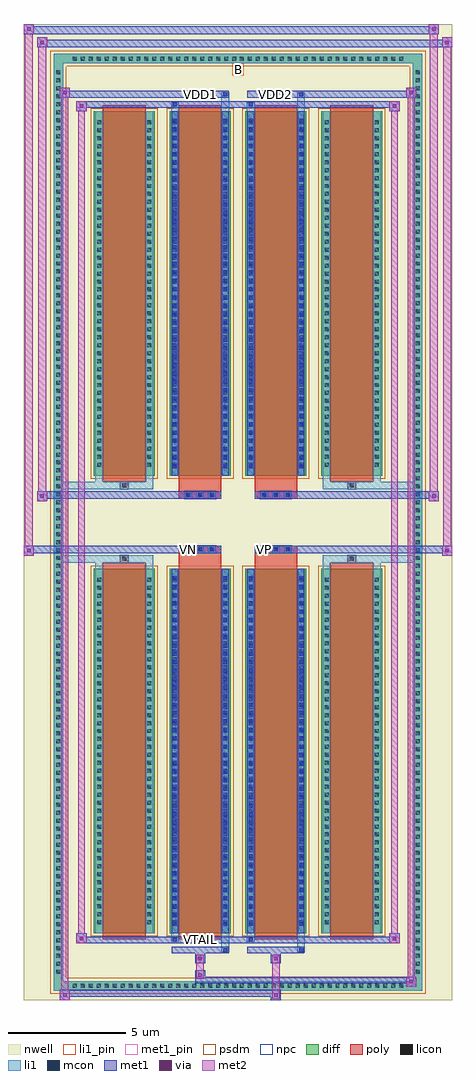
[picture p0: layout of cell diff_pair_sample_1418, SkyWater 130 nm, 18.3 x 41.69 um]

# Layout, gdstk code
import gdstk
lib = gdstk.Library(unit=1e-6, precision=5e-09)
def R(c, l, rs):  # rectangles x0, y0, x1, y1
    for r in rs: c.add(gdstk.rectangle(r[:2], r[2:], *l))
def A(c, l, x, y, w, h, nx, ny, dx, dy):  # array of equal rectangles
    R(c, l, [(x+i*dx, y+j*dy, x+i*dx+w, y+j*dy+h) for i in range(nx) for j in range(ny)])
def P(c, l, *ps):  # polygons
    for p in ps: c.add(gdstk.Polygon(p, *l))
nwell = (64, 20)
diff = (65, 20)
poly = (66, 20)
licon = (66, 44)
li1_pin = (67, 16)
li1 = (67, 20)
mcon = (67, 44)
met1_pin = (68, 16)
met1 = (68, 20)
via = (68, 44)
met2 = (69, 20)
psdm = (94, 20)
npc = (95, 20)

diff_pair_sample_1418 = lib.new_cell('diff_pair_sample_1418')
R(diff_pair_sample_1418, nwell, [(-9.15,-20.41,9.15,21.28), (-6.47,-18.6,-0.01,-0.8), (0.01,-18.6,6.47,-0.8), (-6.47,0.8,-0.01,18.6), (0.01,0.8,6.47,18.6)])
A(diff_pair_sample_1418, diff, -7.175, -20.01, 0.41, 0.41, 42, 2, 0.34, 39.61)
A(diff_pair_sample_1418, diff, -7.88, -19.415, 0.41, 0.41, 1, 114, 0, 0.34)
A(diff_pair_sample_1418, diff, 7.47, -19.415, 0.41, 0.41, 1, 114, 0, 0.34)
A(diff_pair_sample_1418, diff, -6.16, -17.555, 2.6, 15.57, 4, 2, 3.24, 19.54)
R(diff_pair_sample_1418, diff, [(-7.175,-20.01,7.175,-19.6), (-7.88,-19.415,-7.47,19.415), (7.47,-19.415,7.88,19.415), (-7.175,19.6,7.175,20.01)])
P(diff_pair_sample_1418, diff, [(7.88,20.01),(-7.88,20.01),(-7.88,-19.6),(-7.47,-19.6),(-7.47,19.6),(7.47,19.6),(7.47,-19.6),(-7.47,-19.6),(-7.88,-19.6),(-7.88,-20.01),(7.88,-20.01)])
A(diff_pair_sample_1418, poly, -5.77, -17.805, 1.82, 16.07, 4, 2, 3.24, 19.54)
A(diff_pair_sample_1418, poly, -2.285, -1.33, 0.33, 0.33, 3, 2, 0.5, 2.33)
A(diff_pair_sample_1418, poly, 0.955, -1.33, 0.33, 0.33, 3, 2, 0.5, 2.33)
R(diff_pair_sample_1418, poly, [(-5.025,-1.735,-4.695,-1.405), (-5.025,-1.735,-4.695,-1.405), (-2.53,-1.735,-0.71,-1.33), (0.71,-1.735,2.53,-1.33), (4.695,-1.735,5.025,-1.405), (4.695,-1.735,5.025,-1.405), (-2.53,-1.33,-0.71,-1), (0.71,-1.33,2.53,-1), (-2.53,1,-0.71,1.33), (0.71,1,2.53,1.33), (-2.53,1.33,-0.71,1.735), (0.71,1.33,2.53,1.735), (-5.025,1.405,-4.695,1.735), (-5.025,1.405,-4.695,1.735), (4.695,1.405,5.025,1.735), (4.695,1.405,5.025,1.735)])
A(diff_pair_sample_1418, licon, -7.055, -19.89, 0.17, 0.17, 42, 2, 0.34, 39.61)
A(diff_pair_sample_1418, licon, -7.76, -19.295, 0.17, 0.17, 1, 114, 0, 0.34)
A(diff_pair_sample_1418, licon, 7.59, -19.295, 0.17, 0.17, 1, 114, 0, 0.34)
A(diff_pair_sample_1418, licon, -6.02, -17.165, 0.17, 0.17, 1, 44, 0, 0.34)
A(diff_pair_sample_1418, licon, -3.87, -17.165, 0.17, 0.17, 1, 44, 0, 0.34)
A(diff_pair_sample_1418, licon, -2.78, -17.165, 0.17, 0.17, 1, 44, 0, 0.34)
A(diff_pair_sample_1418, licon, -0.63, -17.165, 0.17, 0.17, 1, 44, 0, 0.34)
A(diff_pair_sample_1418, licon, 0.46, -17.165, 0.17, 0.17, 1, 44, 0, 0.34)
A(diff_pair_sample_1418, licon, 2.61, -17.165, 0.17, 0.17, 1, 44, 0, 0.34)
A(diff_pair_sample_1418, licon, 3.7, -17.165, 0.17, 0.17, 1, 44, 0, 0.34)
A(diff_pair_sample_1418, licon, 5.85, -17.165, 0.17, 0.17, 1, 44, 0, 0.34)
A(diff_pair_sample_1418, licon, -2.205, -1.25, 0.17, 0.17, 3, 2, 0.5, 2.33)
A(diff_pair_sample_1418, licon, 1.035, -1.25, 0.17, 0.17, 3, 2, 0.5, 2.33)
A(diff_pair_sample_1418, licon, -6.02, 2.375, 0.17, 0.17, 1, 44, 0, 0.34)
A(diff_pair_sample_1418, licon, -3.87, 2.375, 0.17, 0.17, 1, 44, 0, 0.34)
A(diff_pair_sample_1418, licon, -2.78, 2.375, 0.17, 0.17, 1, 44, 0, 0.34)
A(diff_pair_sample_1418, licon, -0.63, 2.375, 0.17, 0.17, 1, 44, 0, 0.34)
A(diff_pair_sample_1418, licon, 0.46, 2.375, 0.17, 0.17, 1, 44, 0, 0.34)
A(diff_pair_sample_1418, licon, 2.61, 2.375, 0.17, 0.17, 1, 44, 0, 0.34)
A(diff_pair_sample_1418, licon, 3.7, 2.375, 0.17, 0.17, 1, 44, 0, 0.34)
A(diff_pair_sample_1418, licon, 5.85, 2.375, 0.17, 0.17, 1, 44, 0, 0.34)
R(diff_pair_sample_1418, licon, [(-4.945,-1.655,-4.775,-1.485), (4.775,-1.655,4.945,-1.485), (-4.945,1.485,-4.775,1.655), (4.775,1.485,4.945,1.655)])
R(diff_pair_sample_1418, li1_pin, [(-0.25,19.1,0.25,19.6)])
A(diff_pair_sample_1418, li1, -7.135, -19.97, 0.33, 0.33, 42, 2, 0.34, 39.61)
A(diff_pair_sample_1418, li1, -7.84, -19.375, 0.33, 0.33, 1, 114, 0, 0.34)
A(diff_pair_sample_1418, li1, 7.51, -19.375, 0.33, 0.33, 1, 114, 0, 0.34)
A(diff_pair_sample_1418, li1, -6.1, -17.245, 0.33, 0.33, 1, 44, 0, 0.34)
A(diff_pair_sample_1418, li1, -3.95, -17.245, 0.33, 0.33, 1, 44, 0, 0.34)
A(diff_pair_sample_1418, li1, -2.86, -17.245, 0.33, 0.33, 1, 44, 0, 0.34)
A(diff_pair_sample_1418, li1, -0.71, -17.245, 0.33, 0.33, 1, 44, 0, 0.34)
A(diff_pair_sample_1418, li1, 0.38, -17.245, 0.33, 0.33, 1, 44, 0, 0.34)
A(diff_pair_sample_1418, li1, 2.53, -17.245, 0.33, 0.33, 1, 44, 0, 0.34)
A(diff_pair_sample_1418, li1, 3.62, -17.245, 0.33, 0.33, 1, 44, 0, 0.34)
A(diff_pair_sample_1418, li1, 5.77, -17.245, 0.33, 0.33, 1, 44, 0, 0.34)
A(diff_pair_sample_1418, li1, -2.78, -17.235, 0.17, 0.17, 1, 42, 0, 0.36)
A(diff_pair_sample_1418, li1, -0.63, -17.235, 0.17, 0.17, 1, 42, 0, 0.36)
A(diff_pair_sample_1418, li1, 0.46, -17.235, 0.17, 0.17, 1, 42, 0, 0.36)
A(diff_pair_sample_1418, li1, 2.61, -17.235, 0.17, 0.17, 1, 42, 0, 0.36)
A(diff_pair_sample_1418, li1, -2.285, -1.33, 0.33, 0.33, 3, 2, 0.5, 2.33)
A(diff_pair_sample_1418, li1, 0.955, -1.33, 0.33, 0.33, 3, 2, 0.5, 2.33)
A(diff_pair_sample_1418, li1, -6.1, 2.295, 0.33, 0.33, 1, 44, 0, 0.34)
A(diff_pair_sample_1418, li1, -3.95, 2.295, 0.33, 0.33, 1, 44, 0, 0.34)
A(diff_pair_sample_1418, li1, -2.86, 2.295, 0.33, 0.33, 1, 44, 0, 0.34)
A(diff_pair_sample_1418, li1, -0.71, 2.295, 0.33, 0.33, 1, 44, 0, 0.34)
A(diff_pair_sample_1418, li1, 0.38, 2.295, 0.33, 0.33, 1, 44, 0, 0.34)
A(diff_pair_sample_1418, li1, 2.53, 2.295, 0.33, 0.33, 1, 44, 0, 0.34)
A(diff_pair_sample_1418, li1, 3.62, 2.295, 0.33, 0.33, 1, 44, 0, 0.34)
A(diff_pair_sample_1418, li1, 5.77, 2.295, 0.33, 0.33, 1, 44, 0, 0.34)
A(diff_pair_sample_1418, li1, -2.78, 2.305, 0.17, 0.17, 1, 42, 0, 0.36)
A(diff_pair_sample_1418, li1, -0.63, 2.305, 0.17, 0.17, 1, 42, 0, 0.36)
A(diff_pair_sample_1418, li1, 0.46, 2.305, 0.17, 0.17, 1, 42, 0, 0.36)
A(diff_pair_sample_1418, li1, 2.61, 2.305, 0.17, 0.17, 1, 42, 0, 0.36)
R(diff_pair_sample_1418, li1, [(-7.88,-20.01,-7.47,-19.6), (-7.88,-20.01,-7.47,-19.6), (-7.47,-20.01,7.47,-19.6), (7.47,-20.01,7.88,-19.6), (7.47,-20.01,7.88,-19.6), (-7.88,-19.6,-7.47,19.6), (7.47,-19.6,7.88,19.6), (-0.71,-18.36,-0.38,-17.555), (-0.63,-18.36,-0.46,-18.19), (2.53,-18.36,2.86,-17.555), (2.61,-18.36,2.78,-18.19), (-2.86,-17.93,-2.53,-17.555), (-2.78,-17.93,-2.61,-17.76), (0.38,-17.93,0.71,-17.555), (0.46,-17.93,0.63,-17.76), (-6.1,-17.555,-5.77,-1.985), (-3.95,-17.555,-3.62,-1.985), (-2.86,-17.555,-2.53,-1.985), (-0.71,-17.555,-0.38,-1.985), (0.38,-17.555,0.71,-1.985), (2.53,-17.555,2.86,-1.985), (3.62,-17.555,3.95,-1.985), (5.77,-17.555,6.1,-1.985), (-2.78,-17.235,-2.61,-2.305), (-0.63,-17.235,-0.46,-2.305), (0.46,-17.235,0.63,-2.305), (2.61,-17.235,2.78,-2.305), (-6.1,-1.985,-5.77,-1.405), (-3.95,-1.985,-3.62,-1.405), (3.62,-1.985,3.95,-1.405), (5.77,-1.985,6.1,-1.405), (-7.88,-1.735,-5.025,-1.405), (-6.1,-1.735,-5.025,-1.405), (-5.025,-1.735,-4.695,-1.405), (-4.695,-1.735,-3.62,-1.405), (3.62,-1.735,4.695,-1.405), (4.695,-1.735,5.025,-1.405), (4.695,-1.735,7.88,-1.405), (5.025,-1.735,6.1,-1.405), (-7.88,1.405,-5.025,1.735), (-6.1,1.405,-5.025,1.735), (-6.1,1.405,-5.77,1.985), (-5.025,1.405,-4.695,1.735), (-4.695,1.405,-3.62,1.735), (-3.95,1.405,-3.62,1.985), (3.62,1.405,4.695,1.735), (3.62,1.405,3.95,1.985), (4.695,1.405,5.025,1.735), (4.695,1.405,7.88,1.735), (5.025,1.405,6.1,1.735), (5.77,1.405,6.1,1.985), (-6.1,1.985,-5.77,17.555), (-3.95,1.985,-3.62,17.555), (-2.86,1.985,-2.53,17.555), (-0.71,1.985,-0.38,17.555), (0.38,1.985,0.71,17.555), (2.53,1.985,2.86,17.555), (3.62,1.985,3.95,17.555), (5.77,1.985,6.1,17.555), (-2.78,2.305,-2.61,17.235), (-0.63,2.305,-0.46,17.235), (0.46,2.305,0.63,17.235), (2.61,2.305,2.78,17.235), (-2.86,17.555,-2.53,17.93), (-0.71,17.555,-0.38,18.36), (0.38,17.555,0.71,17.93), (2.53,17.555,2.86,18.36), (-2.78,17.76,-2.61,17.93), (0.46,17.76,0.63,17.93), (-0.63,18.19,-0.46,18.36), (2.61,18.19,2.78,18.36), (-7.88,19.6,-7.47,20.01), (-7.88,19.6,-7.47,20.01), (-7.47,19.6,7.47,20.01), (7.47,19.6,7.88,20.01), (7.47,19.6,7.88,20.01)])
A(diff_pair_sample_1418, mcon, -2.78, -17.235, 0.17, 0.17, 1, 42, 0, 0.36)
A(diff_pair_sample_1418, mcon, -0.63, -17.235, 0.17, 0.17, 1, 42, 0, 0.36)
A(diff_pair_sample_1418, mcon, 0.46, -17.235, 0.17, 0.17, 1, 42, 0, 0.36)
A(diff_pair_sample_1418, mcon, 2.61, -17.235, 0.17, 0.17, 1, 42, 0, 0.36)
A(diff_pair_sample_1418, mcon, -2.205, -1.25, 0.17, 0.17, 3, 2, 0.5, 2.33)
A(diff_pair_sample_1418, mcon, 1.035, -1.25, 0.17, 0.17, 3, 2, 0.5, 2.33)
A(diff_pair_sample_1418, mcon, -2.78, 2.305, 0.17, 0.17, 1, 42, 0, 0.36)
A(diff_pair_sample_1418, mcon, -0.63, 2.305, 0.17, 0.17, 1, 42, 0, 0.36)
A(diff_pair_sample_1418, mcon, 0.46, 2.305, 0.17, 0.17, 1, 42, 0, 0.36)
A(diff_pair_sample_1418, mcon, 2.61, 2.305, 0.17, 0.17, 1, 42, 0, 0.36)
R(diff_pair_sample_1418, mcon, [(-0.63,-18.36,-0.46,-18.19), (2.61,-18.36,2.78,-18.19), (-2.78,-17.93,-2.61,-17.76), (0.46,-17.93,0.63,-17.76), (-2.78,17.76,-2.61,17.93), (0.46,17.76,0.63,17.93), (-0.63,18.19,-0.46,18.36), (2.61,18.19,2.78,18.36)])
R(diff_pair_sample_1418, met1_pin, [(-1.755,-17.97,-1.485,-17.7), (-2.255,-1.29,-1.985,-1.02), (0.985,-1.29,1.255,-1.02), (-1.755,18.15,-1.485,18.42), (1.485,18.15,1.755,18.42)])
A(diff_pair_sample_1418, met1, -2.84, -17.295, 0.29, 0.29, 1, 42, 0, 0.36)
A(diff_pair_sample_1418, met1, -0.69, -17.295, 0.29, 0.29, 1, 42, 0, 0.36)
A(diff_pair_sample_1418, met1, 0.4, -17.295, 0.29, 0.29, 1, 42, 0, 0.36)
A(diff_pair_sample_1418, met1, 2.55, -17.295, 0.29, 0.29, 1, 42, 0, 0.36)
A(diff_pair_sample_1418, met1, -2.265, -1.31, 0.29, 0.29, 3, 2, 0.5, 2.33)
A(diff_pair_sample_1418, met1, 0.975, -1.31, 0.29, 0.29, 3, 2, 0.5, 2.33)
A(diff_pair_sample_1418, met1, -2.84, 2.245, 0.29, 0.29, 1, 42, 0, 0.36)
A(diff_pair_sample_1418, met1, -0.69, 2.245, 0.29, 0.29, 1, 42, 0, 0.36)
A(diff_pair_sample_1418, met1, 0.4, 2.245, 0.29, 0.29, 1, 42, 0, 0.36)
A(diff_pair_sample_1418, met1, 2.55, 2.245, 0.29, 0.29, 1, 42, 0, 0.36)
R(diff_pair_sample_1418, met1, [(-7.61,-20.41,-7.18,-19.98), (1.405,-20.41,1.835,-19.98), (-7.61,-20.27,1.835,-19.98), (7.18,-19.84,7.61,-19.41), (-1.835,-19.7,7.61,-19.41), (-1.835,-19.56,-1.405,-19.13), (-1.835,-18.85,-1.405,-18.42), (1.405,-18.85,1.835,-18.42), (-2.84,-18.42,-0.4,-18.13), (-0.69,-18.42,-0.4,-18.13), (0.4,-18.42,2.84,-18.13), (2.55,-18.42,2.84,-18.13), (-6.9,-17.99,-6.47,-17.56), (-6.9,-17.99,-2.84,-17.7), (-2.84,-17.99,-2.55,-17.7), (-2.84,-17.99,-0.4,-17.7), (-0.4,-17.99,0.4,-17.7), (0.4,-17.99,0.69,-17.7), (0.4,-17.99,2.84,-17.7), (2.84,-17.99,6.9,-17.7), (6.47,-17.99,6.9,-17.56), (-2.84,-17.555,-2.55,-1.985), (-0.69,-17.555,-0.4,-1.985), (0.4,-17.555,0.69,-1.985), (2.55,-17.555,2.84,-1.985), (-9.15,-1.43,-8.72,-1), (8.72,-1.43,9.15,-1), (-9.15,-1.33,-0.71,-1), (-2.53,-1.33,-0.71,-1), (0.71,-1.33,2.53,-1), (0.71,-1.33,9.15,-1), (-8.58,0.9,-8.15,1.33), (8.15,0.9,8.58,1.33), (-8.58,1,-2.53,1.33), (-2.53,1,-0.71,1.33), (0.71,1,2.53,1.33), (2.53,1,8.58,1.33), (-2.84,1.985,-2.55,17.555), (-0.69,1.985,-0.4,17.555), (0.4,1.985,0.69,17.555), (2.55,1.985,2.84,17.555), (-6.9,17.56,-6.47,17.99), (6.47,17.56,6.9,17.99), (-6.9,17.7,-2.84,17.99), (-2.84,17.7,-2.55,17.99), (-2.84,17.7,-0.4,17.99), (-0.4,17.7,0.4,17.99), (0.4,17.7,0.69,17.99), (0.4,17.7,2.84,17.99), (2.84,17.7,6.9,17.99), (-7.61,18.13,-7.18,18.56), (-7.61,18.13,-2.84,18.42), (-2.84,18.13,-0.4,18.42), (-0.69,18.13,-0.4,18.42), (0.4,18.13,2.84,18.42), (2.55,18.13,2.84,18.42), (2.84,18.13,7.61,18.42), (7.18,18.13,7.61,18.56), (-8.58,20.28,-8.15,20.71), (-8.58,20.28,-6.47,20.61), (-6.47,20.28,6.47,20.61), (6.47,20.28,9.15,20.61), (8.72,20.28,9.15,20.71), (-9.15,20.85,-8.72,21.28), (-9.15,20.85,-6.47,21.18), (-6.47,20.85,6.47,21.18), (6.47,20.85,8.58,21.18), (8.15,20.85,8.58,21.28)])
R(diff_pair_sample_1418, via, [(-7.47,-20.27,-7.32,-20.12), (1.545,-20.27,1.695,-20.12), (7.32,-19.7,7.47,-19.55), (-1.695,-19.42,-1.545,-19.27), (-1.695,-18.71,-1.545,-18.56), (1.545,-18.71,1.695,-18.56), (-6.76,-17.85,-6.61,-17.7), (6.61,-17.85,6.76,-17.7), (-9.01,-1.29,-8.86,-1.14), (8.86,-1.29,9.01,-1.14), (-8.44,1.04,-8.29,1.19), (8.29,1.04,8.44,1.19), (-6.76,17.7,-6.61,17.85), (6.61,17.7,6.76,17.85), (-7.47,18.27,-7.32,18.42), (7.32,18.27,7.47,18.42), (-8.44,20.42,-8.29,20.57), (8.86,20.42,9.01,20.57), (-9.01,20.99,-8.86,21.14), (8.29,20.99,8.44,21.14)])
R(diff_pair_sample_1418, met2, [(-7.61,-20.41,-7.18,-19.98), (-7.54,-20.41,-7.25,18.56), (-7.25,-20.41,-7.18,-19.98), (-7.56,-20.36,-7.23,-20.03), (1.455,-20.36,1.785,-20.03), (1.455,-20.03,1.785,-18.8), (7.18,-19.84,7.61,-19.41), (7.25,-19.84,7.54,18.56), (7.54,-19.84,7.61,-19.41), (7.23,-19.79,7.56,-19.46), (-1.785,-19.51,-1.455,-19.18), (-1.785,-19.18,-1.455,-18.8), (-1.785,-18.8,-1.455,-18.47), (1.455,-18.8,1.785,-18.47), (-6.9,-17.99,-6.47,-17.56), (-6.83,-17.99,-6.54,17.99), (-6.54,-17.99,-6.47,-17.56), (6.47,-17.99,6.9,-17.56), (6.54,-17.99,6.83,17.99), (6.83,-17.99,6.9,-17.56), (-6.85,-17.94,-6.52,-17.61), (6.52,-17.94,6.85,-17.61), (-9.15,-1.43,-8.72,-1), (-9.1,-1.43,-8.77,21.28), (-8.77,-1.43,-8.72,-1), (8.72,-1.43,9.15,-1), (8.77,-1.43,9.1,20.71), (9.1,-1.43,9.15,-1), (-9.1,-1.38,-8.77,-1.05), (8.77,-1.38,9.1,-1.05), (-8.58,0.9,-8.15,1.33), (-8.53,0.9,-8.2,20.71), (-8.2,0.9,-8.15,1.33), (8.15,0.9,8.58,1.33), (8.2,0.9,8.53,21.28), (8.53,0.9,8.58,1.33), (-8.53,0.95,-8.2,1.28), (8.2,0.95,8.53,1.28), (-6.9,17.56,-6.47,17.99), (-6.54,17.56,-6.47,17.99), (6.47,17.56,6.9,17.99), (6.83,17.56,6.9,17.99), (-6.85,17.61,-6.52,17.94), (6.52,17.61,6.85,17.94), (-7.61,18.13,-7.18,18.56), (-7.25,18.13,-7.18,18.56), (7.18,18.13,7.61,18.56), (7.54,18.13,7.61,18.56), (-7.56,18.18,-7.23,18.51), (7.23,18.18,7.56,18.51), (-8.58,20.28,-8.15,20.71), (-8.2,20.28,-8.15,20.71), (8.72,20.28,9.15,20.71), (9.1,20.28,9.15,20.71), (-8.53,20.33,-8.2,20.66), (8.77,20.33,9.1,20.66), (-9.15,20.85,-8.72,21.28), (-8.77,20.85,-8.72,21.28), (8.15,20.85,8.58,21.28), (8.53,20.85,8.58,21.28), (-9.1,20.9,-8.77,21.23), (8.2,20.9,8.53,21.23)])
A(diff_pair_sample_1418, psdm, -6.29, -17.685, 2.86, 15.83, 4, 2, 3.24, 19.54)
P(diff_pair_sample_1418, psdm, [(8.01,20.14),(-8.01,20.14),(-8.01,-19.47),(-7.34,-19.47),(-7.34,19.47),(7.34,19.47),(7.34,-19.47),(-7.34,-19.47),(-8.01,-19.47),(-8.01,-20.14),(8.01,-20.14)])
A(diff_pair_sample_1418, npc, -2.305, -1.35, 0.37, 0.37, 3, 2, 0.5, 2.33)
A(diff_pair_sample_1418, npc, 0.935, -1.35, 0.37, 0.37, 3, 2, 0.5, 2.33)
R(diff_pair_sample_1418, npc, [(-5.045,-1.755,-4.675,-1.385), (4.675,-1.755,5.045,-1.385), (-2.305,-1.35,-1.435,-0.98), (-2.305,-1.35,-1.435,-0.98), (-1.805,-1.35,-0.935,-0.98), (-1.805,-1.35,-0.935,-0.98), (0.935,-1.35,1.805,-0.98), (0.935,-1.35,1.805,-0.98), (1.435,-1.35,2.305,-0.98), (1.435,-1.35,2.305,-0.98), (-2.305,0.98,-1.435,1.35), (-2.305,0.98,-1.435,1.35), (-1.805,0.98,-0.935,1.35), (-1.805,0.98,-0.935,1.35), (0.935,0.98,1.805,1.35), (0.935,0.98,1.805,1.35), (1.435,0.98,2.305,1.35), (1.435,0.98,2.305,1.35), (-5.045,1.385,-4.675,1.755), (4.675,1.385,5.045,1.755)])
diff_pair_sample_1418.add(gdstk.Label('VTAIL', (-1.62,-17.835), layer=68, texttype=5))
diff_pair_sample_1418.add(gdstk.Label('VN', (-2.12,-1.155), layer=68, texttype=5))
diff_pair_sample_1418.add(gdstk.Label('VP', (1.12,-1.155), layer=68, texttype=5))
diff_pair_sample_1418.add(gdstk.Label('B', (0,19.35), layer=67, texttype=5))
diff_pair_sample_1418.add(gdstk.Label('VDD2', (1.62,18.285), layer=68, texttype=5))
diff_pair_sample_1418.add(gdstk.Label('VDD1', (-1.62,18.285), layer=68, texttype=5))

lib.write_gds('diff_pair_sample_1418.gds')
